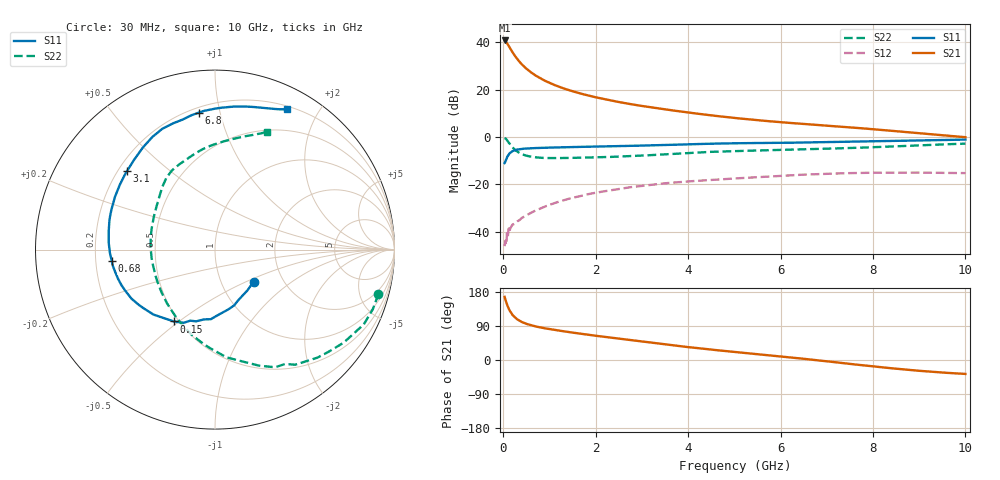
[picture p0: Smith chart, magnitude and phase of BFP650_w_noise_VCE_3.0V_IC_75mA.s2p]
! Infineon Technologies  Discrete & RF Semiconductors
! BFP650
! VCE =  3.0 V,  IC =  75 mA
! Common Emitter S-Parameters:  Jan 2016
# GHz  S  MA  R  50
!  f  S11  S21  S12  S22
! GHz  MAG  ANG  MAG  ANG  MAG  ANG  MAG  ANG
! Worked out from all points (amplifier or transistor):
!   229 points, 30 MHz to 10 GHz, reference 50 ohm
!   highest |S21| = 40.7 dB at 30 MHz (marker M1)
!   |S21| within 3 dB of that: start of sweep to 139.8 MHz
!   unconditionally stable (mu >= 1): 1.506 GHz to end of sweep
!   at 280 MHz: K = 0.58, MSG = 34.8 dB, |S12| = -36.1 dB
!   at 1.78 GHz: K = 1.01, MAG = 20.4 dB, |S12| = -24.5 dB
!   at 10 GHz: K = 1.03, MAG = 6.6 dB, |S12| = -15.3 dB
!   lowest NFmin = 1.21 dB at 450 MHz
!   S11 on the Smith chart (normalised r, x): 30 MHz: 1.42, -0.55; 150 MHz: 0.47, -0.48; 680 MHz: 0.27, -0.05; 3.1 GHz: 0.24, +0.36; 6.8 GHz: 0.23, +0.86; 10 GHz: 0.24, +1.61
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0.03  0.2795 -39.8  109 166.7  0.0049 73.4  0.9439 -15.2
0.04  0.2905 -51.7  107.8 162.3  0.0057 88.1  0.94 -20.7
0.05  0.3085 -64.5  104.6 158.0  0.0064 72.2  0.9278 -26.7
0.06  0.3287 -71.1  103 154.5  0.0053 90.2  0.9012 -31.5
0.08  0.3691 -88.6  96.56 147.0  0.0092 65.5  0.8501 -42.2
0.11  0.4135 -104.8  86.69 137.8  0.0101 63.9  0.781 -55.2
0.15  0.4615 -119.9  74.13 128.2  0.0115 58.8  0.6918 -69.2
0.2  0.4985 -133.4  61.61 119.0  0.014 60.9  0.6042 -83.8
0.22  0.5061 -137.3  57.66 116.6  0.0142 58.6  0.5751 -88.1
0.26  0.5247 -144.2  50.46 111.6  0.0149 56.2  0.5281 -97.2
0.32  0.5429 -151.7  42.22 106.1  0.0167 59.2  0.4776 -108.3
0.45  0.5635 -162.7  30.67 97.7  0.0206 58.8  0.4142 -126.5
0.68  0.5792 -173.8  20.46 89.2  0.0272 59.2  0.3716 -147.2
0.9  0.5893 178.9  15.37 83.7  0.0336 60.2  0.3575 -160.8
1.1  0.5958 173.8  12.56 79.7  0.0397 59.4  0.3561 -169.9
1.7  0.6149 161.2  8.103 69.0  0.057 55.5  0.3629 171.5
3.1  0.6572 138.2  4.355 47.5  0.0944 41.0  0.4067 142.9
3.4  0.6684 133.7  3.939 43.0  0.102 37.5  0.4214 138.3
5.1  0.7351 112.6  2.458 20.1  0.1337 20.4  0.5041 117.5
6.8  0.7685 96.7  1.793 -0.7  0.1634 3.2  0.5563 98.9
8.4  0.8166 77.3  1.344 -21.8  0.1755 -14.6  0.6249 80.7
10  0.8773 62.9  0.986 -36.7  0.1716 -27.3  0.7189 66.1
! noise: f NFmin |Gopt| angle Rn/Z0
0.45  1.21  0.5  -171  0.06
0.9  1.23  0.51  -165  0.06
1.9  1.36  0.53  -151  0.08
2.4  1.44  0.52  -141  0.1
3.5  1.65  0.54  -118  0.18
